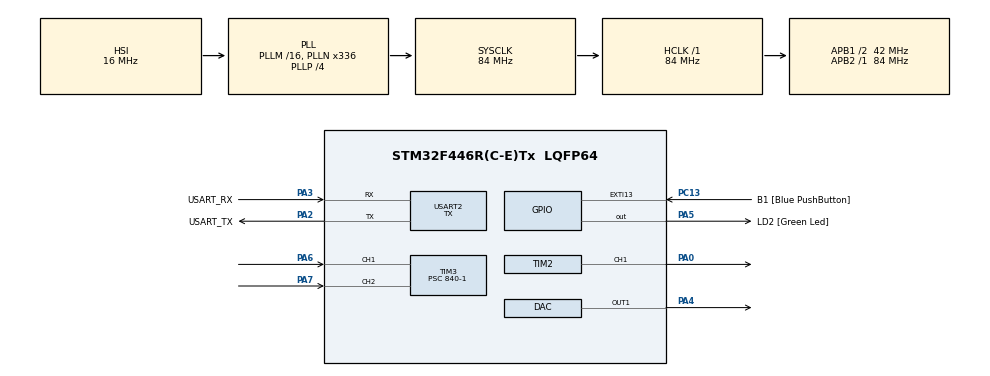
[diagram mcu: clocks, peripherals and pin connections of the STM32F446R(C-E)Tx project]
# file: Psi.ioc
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DAC.DAC_Trigger=DAC_TRIGGER_T6_TRGO
Dma.DAC1.0.Direction=DMA_MEMORY_TO_PERIPH
Dma.DAC1.0.FIFOMode=DMA_FIFOMODE_DISABLE
Dma.DAC1.0.Instance=DMA1_Stream5
Dma.DAC1.0.MemDataAlignment=DMA_MDATAALIGN_WORD
Dma.DAC1.0.MemInc=DMA_MINC_ENABLE
Dma.DAC1.0.Mode=DMA_CIRCULAR
Dma.DAC1.0.PeriphDataAlignment=DMA_PDATAALIGN_WORD
Dma.DAC1.0.PeriphInc=DMA_PINC_DISABLE
Dma.DAC1.0.Priority=DMA_PRIORITY_HIGH
Dma.Request0=DAC1
Mcu.Family=STM32F4
Mcu.Name=STM32F446R(C-E)Tx
Mcu.Package=LQFP64
NVIC.DMA1_Stream5_IRQn=true\:0\:0\:false\:false\:true\:false\:true\:true
NVIC.PriorityGroup=NVIC_PRIORITYGROUP_0
NVIC.TIM3_IRQn=true\:0\:0\:false\:false\:true\:true\:true\:true
PA0-WKUP.Signal=S_TIM2_CH1_ETR
PA13.GPIO_Label=TMS
PA13.Mode=Serial_Wire
PA13.Signal=SYS_JTMS-SWDIO
PA14.GPIO_Label=TCK
PA14.Mode=Serial_Wire
PA14.Signal=SYS_JTCK-SWCLK
PA2.GPIO_Label=USART_TX
PA2.Mode=Asynchronous
PA2.Signal=USART2_TX
PA3.GPIO_Label=USART_RX
PA3.Mode=Asynchronous
PA3.Signal=USART2_RX
PA4.Signal=COMP_DAC1_group
PA5.GPIO_Label=LD2 [Green Led]
PA5.Signal=GPIO_Output
PA6.Signal=S_TIM3_CH1
PA7.Signal=S_TIM3_CH2
PB3.GPIO_Label=SWO
PB3.Signal=SYS_JTDO-SWO
PC13.GPIO_Label=B1 [Blue PushButton]
PC13.GPIO_ModeDefaultEXTI=GPIO_MODE_IT_FALLING
PC13.Signal=GPXTI13
PC14-OSC32_IN.Mode=LSE-External-Oscillator
PC14-OSC32_IN.Signal=RCC_OSC32_IN
PC15-OSC32_OUT.Mode=LSE-External-Oscillator
PC15-OSC32_OUT.Signal=RCC_OSC32_OUT
PH0-OSC_IN.Mode=HSE-External-Oscillator
PH0-OSC_IN.Signal=RCC_OSC_IN
PH1-OSC_OUT.Mode=HSE-External-Oscillator
PH1-OSC_OUT.Signal=RCC_OSC_OUT
ProjectManager.HeapSize=0x200
ProjectManager.StackSize=0x400
ProjectManager.TargetToolchain=STM32CubeIDE
RCC.48MHZClocksFreq_Value=84000000
RCC.AHBFreq_Value=84000000
RCC.APB1CLKDivider=RCC_HCLK_DIV2
RCC.APB1Freq_Value=42000000
RCC.APB1TimFreq_Value=84000000
RCC.APB2Freq_Value=84000000
RCC.APB2TimFreq_Value=84000000
RCC.CortexFreq_Value=84000000
RCC.FLatency-AdvancedSettings=FLASH_LATENCY_2
RCC.HCLKFreq_Value=84000000
RCC.HSE_VALUE=8000000
RCC.HSI_VALUE=16000000
RCC.PLLN=336
RCC.PLLP=RCC_PLLP_DIV4
RCC.SYSCLKFreq_VALUE=84000000
RCC.SYSCLKSource=RCC_SYSCLKSOURCE_PLLCLK
RCC.USBFreq_Value=168000000
RCC.VCOOutputFreq_Value=336000000
SH.COMP_DAC1_group.0=DAC_OUT1,DAC_OUT1
SH.S_TIM2_CH1_ETR.0=TIM2_CH1,PWM Generation1 CH1
SH.S_TIM3_CH1.0=TIM3_CH1,Input_Capture1_from_TI1
SH.S_TIM3_CH2.0=TIM3_CH2,Input_Capture2_from_TI2
TIM2.Channel-PWM\ Generation1\ CH1=TIM_CHANNEL_1
TIM2.OC1Preload_PWM=DISABLE
TIM2.Period=1000-1
TIM2.Prescaler=8400-1
TIM2.Pulse-PWM\ Generation1\ CH1=300-1
TIM3.Channel-Input_Capture1_from_TI1=TIM_CHANNEL_1
TIM3.Channel-Input_Capture2_from_TI2=TIM_CHANNEL_2
TIM3.ICPolarity_CH1=TIM_INPUTCHANNELPOLARITY_RISING
TIM3.Period=1000-1
TIM3.Prescaler=840-1
TIM6.AutoReloadPreload=TIM_AUTORELOAD_PRELOAD_ENABLE
TIM6.Period=0
TIM6.Prescaler=66-1
TIM6.TIM_MasterOutputTrigger=TIM_TRGO_UPDATE
USART2.Mode=MODE_TX
USART2.VirtualMode=VM_ASYNC
VP_TIM2_VS_ClockSourceINT.Mode=Internal
VP_TIM3_VS_ClockSourceINT.Mode=Internal
VP_TIM6_VS_ClockSourceINT.Mode=Enable_Timer
board=NUCLEO-F446RE

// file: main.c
/* USER CODE BEGIN Header */
/**
  ******************************************************************************
  * @file           : main.c
  * @brief          : Main program body
  ******************************************************************************
  * @attention
  *
  * Copyright (c) 2025 STMicroelectronics.
  * All rights reserved.
  *
  * This software is licensed under terms that can be found in the LICENSE file
  * in the root directory of this software component.
  * If no LICENSE file comes with this software, it is provided AS-IS.
  *
  ******************************************************************************
  */
/* USER CODE END Header */
#include "main.h"

/* USER CODE BEGIN Includes */
#include "string.h"
/* USER CODE END Includes */

/* USER CODE BEGIN PD */
#define VSOM 343
#define NS 128

#define ECHO_DELAY 20
#define ECHO_ALPHA  30
/* USER CODE END PD */

DAC_HandleTypeDef hdac;
DMA_HandleTypeDef hdma_dac1;

TIM_HandleTypeDef htim2;
TIM_HandleTypeDef htim3;
TIM_HandleTypeDef htim6;

UART_HandleTypeDef huart2;

/* USER CODE BEGIN PV */
uint8_t capt[2] = {0, 0};
uint16_t s[2] = {0, 0}, ARR6 = 0, A = 0;
char msg[100] = {'\0'};

enum effects {
	Mod, Grave
} select = Mod;

const uint32_t SINE_WAVE[NS] = {
    2048, 2149, 2250, 2350, 2450, 2549, 2646, 2742, 2837, 2929, 3020, 3108, 3193, 3275, 3355,
    3431, 3504, 3574, 3639, 3701, 3759, 3812, 3861, 3906, 3946, 3982, 4013, 4039, 4060, 4076,
    4087, 4094, 4095, 4091, 4082, 4069, 4050, 4026, 3998, 3965, 3927, 3884, 3837, 3786, 3730,
    3671, 3607, 3539, 3468, 3394, 3316, 3235, 3151, 3064, 2975, 2883, 2790, 2695, 2598, 2500,
    2400, 2300, 2199, 2098, 1997, 1896, 1795, 1695, 1595, 1497, 1400, 1305, 1212, 1120, 1031,
    944, 860, 779, 701, 627, 556, 488, 424, 365, 309, 258, 211, 168, 130, 97,
    69, 45, 26, 13, 4, 0, 1, 8, 19, 35, 56, 82, 113, 149, 189,
    234, 283, 336, 394, 456, 521, 591, 664, 740, 820, 902, 987, 1075, 1166, 1258,
    1353, 1449, 1546, 1645, 1745, 1845, 1946, 2047
};

uint32_t SINE_WAVE_AV[NS];

/* USER CODE END PV */

void SystemClock_Config(void);
static void MX_GPIO_Init(void);
static void MX_DMA_Init(void);
static void MX_USART2_UART_Init(void);
static void MX_TIM2_Init(void);
static void MX_TIM3_Init(void);
static void MX_DAC_Init(void);
static void MX_TIM6_Init(void);

int main(void)
{

  /* MCU Configuration--------------------------------------------------------*/

  /* Reset of all peripherals, Initializes the Flash interface and the Systick. */
  HAL_Init();

  /* Configure the system clock */
  SystemClock_Config();

  /* Initialize all configured peripherals */
  MX_GPIO_Init();
  MX_DMA_Init();
  MX_USART2_UART_Init();
  MX_TIM2_Init();
  MX_TIM3_Init();
  MX_DAC_Init();
  MX_TIM6_Init();
  /* USER CODE BEGIN 2 */

  HAL_TIM_PWM_Start(&htim2, TIM_CHANNEL_1);
  HAL_TIM_IC_Start_IT(&htim3, TIM_CHANNEL_1);
  HAL_TIM_IC_Start_IT(&htim3, TIM_CHANNEL_2);
  HAL_DAC_Start_DMA(&hdac, DAC1_CHANNEL_1, (uint32_t*)SINE_WAVE_AV, NS, DAC_ALIGN_12B_R);
  HAL_TIM_Base_Init(&htim6);
  HAL_TIM_Base_Start(&htim6);

  /* USER CODE END 2 */

  /* Infinite loop */
  while (1)
  {

  }
}

void SystemClock_Config(void)
{
  RCC_OscInitTypeDef RCC_OscInitStruct = {0};
  RCC_ClkInitTypeDef RCC_ClkInitStruct = {0};

  /** Configure the main internal regulator output voltage
  */
  __HAL_RCC_PWR_CLK_ENABLE();
  __HAL_PWR_VOLTAGESCALING_CONFIG(PWR_REGULATOR_VOLTAGE_SCALE3);

  /** Initializes the RCC Oscillators according to the specified parameters
  * in the RCC_OscInitTypeDef structure.
  */
  RCC_OscInitStruct.OscillatorType = RCC_OSCILLATORTYPE_HSI;
  RCC_OscInitStruct.HSIState = RCC_HSI_ON;
  RCC_OscInitStruct.HSICalibrationValue = RCC_HSICALIBRATION_DEFAULT;
  RCC_OscInitStruct.PLL.PLLState = RCC_PLL_ON;
  RCC_OscInitStruct.PLL.PLLSource = RCC_PLLSOURCE_HSI;
  RCC_OscInitStruct.PLL.PLLM = 16;
  RCC_OscInitStruct.PLL.PLLN = 336;
  RCC_OscInitStruct.PLL.PLLP = RCC_PLLP_DIV4;
  RCC_OscInitStruct.PLL.PLLQ = 2;
  RCC_OscInitStruct.PLL.PLLR = 2;
  if (HAL_RCC_OscConfig(&RCC_OscInitStruct) != HAL_OK)
  {
    Error_Handler();
  }

  /** Initializes the CPU, AHB and APB buses clocks
  */
  RCC_ClkInitStruct.ClockType = RCC_CLOCKTYPE_HCLK|RCC_CLOCKTYPE_SYSCLK
                              |RCC_CLOCKTYPE_PCLK1|RCC_CLOCKTYPE_PCLK2;
  RCC_ClkInitStruct.SYSCLKSource = RCC_SYSCLKSOURCE_PLLCLK;
  RCC_ClkInitStruct.AHBCLKDivider = RCC_SYSCLK_DIV1;
  RCC_ClkInitStruct.APB1CLKDivider = RCC_HCLK_DIV2;
  RCC_ClkInitStruct.APB2CLKDivider = RCC_HCLK_DIV1;

  if (HAL_RCC_ClockConfig(&RCC_ClkInitStruct, FLASH_LATENCY_2) != HAL_OK)
  {
    Error_Handler();
  }
}

static void MX_DAC_Init(void)
{

  DAC_ChannelConfTypeDef sConfig = {0};

  /** DAC Initialization
  */
  hdac.Instance = DAC;
  if (HAL_DAC_Init(&hdac) != HAL_OK)
  {
    Error_Handler();
  }

  /** DAC channel OUT1 config
  */
  sConfig.DAC_Trigger = DAC_TRIGGER_T6_TRGO;
  sConfig.DAC_OutputBuffer = DAC_OUTPUTBUFFER_ENABLE;
  if (HAL_DAC_ConfigChannel(&hdac, &sConfig, DAC_CHANNEL_1) != HAL_OK)
  {
    Error_Handler();
  }

}

static void MX_TIM2_Init(void)
{

  TIM_ClockConfigTypeDef sClockSourceConfig = {0};
  TIM_MasterConfigTypeDef sMasterConfig = {0};
  TIM_OC_InitTypeDef sConfigOC = {0};

  htim2.Instance = TIM2;
  htim2.Init.Prescaler = 8400-1;
  htim2.Init.CounterMode = TIM_COUNTERMODE_UP;
  htim2.Init.Period = 1000-1;
  htim2.Init.ClockDivision = TIM_CLOCKDIVISION_DIV1;
  htim2.Init.AutoReloadPreload = TIM_AUTORELOAD_PRELOAD_DISABLE;
  if (HAL_TIM_Base_Init(&htim2) != HAL_OK)
  {
    Error_Handler();
  }
  sClockSourceConfig.ClockSource = TIM_CLOCKSOURCE_INTERNAL;
  if (HAL_TIM_ConfigClockSource(&htim2, &sClockSourceConfig) != HAL_OK)
  {
    Error_Handler();
  }
  if (HAL_TIM_PWM_Init(&htim2) != HAL_OK)
  {
    Error_Handler();
  }
  sMasterConfig.MasterOutputTrigger = TIM_TRGO_RESET;
  sMasterConfig.MasterSlaveMode = TIM_MASTERSLAVEMODE_DISABLE;
  if (HAL_TIMEx_MasterConfigSynchronization(&htim2, &sMasterConfig) != HAL_OK)
  {
    Error_Handler();
  }
  sConfigOC.OCMode = TIM_OCMODE_PWM1;
  sConfigOC.Pulse = 300-1;
  sConfigOC.OCPolarity = TIM_OCPOLARITY_HIGH;
  sConfigOC.OCFastMode = TIM_OCFAST_DISABLE;
  if (HAL_TIM_PWM_ConfigChannel(&htim2, &sConfigOC, TIM_CHANNEL_1) != HAL_OK)
  {
    Error_Handler();
  }
  __HAL_TIM_DISABLE_OCxPRELOAD(&htim2, TIM_CHANNEL_1);
  HAL_TIM_MspPostInit(&htim2);

}

static void MX_TIM3_Init(void)
{

  TIM_ClockConfigTypeDef sClockSourceConfig = {0};
  TIM_MasterConfigTypeDef sMasterConfig = {0};
  TIM_IC_InitTypeDef sConfigIC = {0};

  htim3.Instance = TIM3;
  htim3.Init.Prescaler = 840-1;
  htim3.Init.CounterMode = TIM_COUNTERMODE_UP;
  htim3.Init.Period = 1000-1;
  htim3.Init.ClockDivision = TIM_CLOCKDIVISION_DIV1;
  htim3.Init.AutoReloadPreload = TIM_AUTORELOAD_PRELOAD_DISABLE;
  if (HAL_TIM_Base_Init(&htim3) != HAL_OK)
  {
    Error_Handler();
  }
  sClockSourceConfig.ClockSource = TIM_CLOCKSOURCE_INTERNAL;
  if (HAL_TIM_ConfigClockSource(&htim3, &sClockSourceConfig) != HAL_OK)
  {
    Error_Handler();
  }
  if (HAL_TIM_IC_Init(&htim3) != HAL_OK)
  {
    Error_Handler();
  }
  sMasterConfig.MasterOutputTrigger = TIM_TRGO_RESET;
  sMasterConfig.MasterSlaveMode = TIM_MASTERSLAVEMODE_DISABLE;
  if (HAL_TIMEx_MasterConfigSynchronization(&htim3, &sMasterConfig) != HAL_OK)
  {
    Error_Handler();
  }
  sConfigIC.ICPolarity = TIM_INPUTCHANNELPOLARITY_RISING;
  sConfigIC.ICSelection = TIM_ICSELECTION_DIRECTTI;
  sConfigIC.ICPrescaler = TIM_ICPSC_DIV1;
  sConfigIC.ICFilter = 0;
  if (HAL_TIM_IC_ConfigChannel(&htim3, &sConfigIC, TIM_CHANNEL_1) != HAL_OK)
  {
    Error_Handler();
  }
  if (HAL_TIM_IC_ConfigChannel(&htim3, &sConfigIC, TIM_CHANNEL_2) != HAL_OK)
  {
    Error_Handler();
  }

}

static void MX_TIM6_Init(void)
{

  TIM_MasterConfigTypeDef sMasterConfig = {0};

  htim6.Instance = TIM6;
  htim6.Init.Prescaler = 66-1;
  htim6.Init.CounterMode = TIM_COUNTERMODE_UP;
  htim6.Init.Period = 0;
  htim6.Init.AutoReloadPreload = TIM_AUTORELOAD_PRELOAD_ENABLE;
  if (HAL_TIM_Base_Init(&htim6) != HAL_OK)
  {
    Error_Handler();
  }
  sMasterConfig.MasterOutputTrigger = TIM_TRGO_UPDATE;
  sMasterConfig.MasterSlaveMode = TIM_MASTERSLAVEMODE_DISABLE;
  if (HAL_TIMEx_MasterConfigSynchronization(&htim6, &sMasterConfig) != HAL_OK)
  {
    Error_Handler();
  }

}

static void MX_USART2_UART_Init(void)
{

  huart2.Instance = USART2;
  huart2.Init.BaudRate = 115200;
  huart2.Init.WordLength = UART_WORDLENGTH_8B;
  huart2.Init.StopBits = UART_STOPBITS_1;
  huart2.Init.Parity = UART_PARITY_NONE;
  huart2.Init.Mode = UART_MODE_TX;
  huart2.Init.HwFlowCtl = UART_HWCONTROL_NONE;
  huart2.Init.OverSampling = UART_OVERSAMPLING_16;
  if (HAL_UART_Init(&huart2) != HAL_OK)
  {
    Error_Handler();
  }

}

static void MX_DMA_Init(void)
{

  /* DMA controller clock enable */
  __HAL_RCC_DMA1_CLK_ENABLE();

  /* DMA interrupt init */
  /* DMA1_Stream5_IRQn interrupt configuration */
  HAL_NVIC_SetPriority(DMA1_Stream5_IRQn, 0, 0);
  HAL_NVIC_EnableIRQ(DMA1_Stream5_IRQn);

}

static void MX_GPIO_Init(void)
{
  GPIO_InitTypeDef GPIO_InitStruct = {0};

  /* GPIO Ports Clock Enable */
  __HAL_RCC_GPIOC_CLK_ENABLE();
  __HAL_RCC_GPIOH_CLK_ENABLE();
  __HAL_RCC_GPIOA_CLK_ENABLE();
  __HAL_RCC_GPIOB_CLK_ENABLE();

  /*Configure GPIO pin Output Level */
  HAL_GPIO_WritePin(LD2_GPIO_Port, LD2_Pin, GPIO_PIN_RESET);

  /*Configure GPIO pin : B1_Pin */
  GPIO_InitStruct.Pin = B1_Pin;
  GPIO_InitStruct.Mode = GPIO_MODE_IT_FALLING;
  GPIO_InitStruct.Pull = GPIO_NOPULL;
  HAL_GPIO_Init(B1_GPIO_Port, &GPIO_InitStruct);

  /*Configure GPIO pin : LD2_Pin */
  GPIO_InitStruct.Pin = LD2_Pin;
  GPIO_InitStruct.Mode = GPIO_MODE_OUTPUT_PP;
  GPIO_InitStruct.Pull = GPIO_NOPULL;
  GPIO_InitStruct.Speed = GPIO_SPEED_FREQ_LOW;
  HAL_GPIO_Init(LD2_GPIO_Port, &GPIO_InitStruct);

}

/* USER CODE BEGIN 4 */

void HAL_TIM_IC_CaptureCallback(TIM_HandleTypeDef *htim)
{
	if(htim->Channel == HAL_TIM_ACTIVE_CHANNEL_1){
		if(capt[0] == 0){
			__HAL_TIM_SET_COUNTER(htim, 0);

			capt[0] = 1;
			__HAL_TIM_SET_CAPTUREPOLARITY(htim, TIM_CHANNEL_1, TIM_INPUTCHANNELPOLARITY_FALLING);
		}
		else {
			capt[0] = 0;
			__HAL_TIM_SET_CAPTUREPOLARITY(htim, TIM_CHANNEL_1, TIM_INPUTCHANNELPOLARITY_RISING);

			s[0] = HAL_TIM_ReadCapturedValue(htim, TIM_CHANNEL_1);
			ARR6 = (s[0]/2)*343/1000;
			__HAL_TIM_SET_AUTORELOAD(&htim6, ARR6-1);
			htim6.Instance->EGR |= TIM_EGR_UG;
		}
	}
	if(htim->Channel == HAL_TIM_ACTIVE_CHANNEL_2){
		if(capt[1] == 0){
			capt[1] = 1;
			__HAL_TIM_SET_CAPTUREPOLARITY(htim, TIM_CHANNEL_2, TIM_INPUTCHANNELPOLARITY_FALLING);
		}
		else{
			capt[1] = 0;
			__HAL_TIM_SET_CAPTUREPOLARITY(htim, TIM_CHANNEL_2, TIM_INPUTCHANNELPOLARITY_RISING);

			s[1] = HAL_TIM_ReadCapturedValue(htim, TIM_CHANNEL_2);
			A = (s[1]/2)*343/500;
			if (A > 100) A = 100;
			if(select == Mod){
				for(uint8_t i = 0; i < NS; i++){
					SINE_WAVE_AV[i] = SINE_WAVE[i]*A/100;
				}
			}
			else if(select == Grave){
				float fc = 800.0f;           // corte em Hz (ajuste)
				float Fs = 20000.0f;         // sua taxa de amostragem (ex: 20kHz)
				float alpha = 1.0f - expf(-2.0f * 3.14 * fc / Fs);

				float lp_last = 2048.0f; // inicializando o estado do filtro

				for(uint8_t i = 0; i < NS; i++) {
				    float dry = (float)SINE_WAVE[i] * A / 100.0f;
				    lp_last = lp_last + alpha * (dry - lp_last);
				    uint32_t out = (uint32_t)lp_last;
				    if(out > 4095) out = 4095;
				    SINE_WAVE_AV[i] = out;
				}

			}
		}
	}
	//sprintf(msg, "{\"d1\" : %d, \"d2\" : %d, \"f\" : %d,\"A\" : %d\n}", d1, d2, (int)(20000/(f-1)), A);
	//HAL_UART_Transmit(&huart2, msg, strlen(msg), 100);
}

/* USER CODE END 4 */

void Error_Handler(void)
{
  __disable_irq();
  while (1)
  {
  }
}
